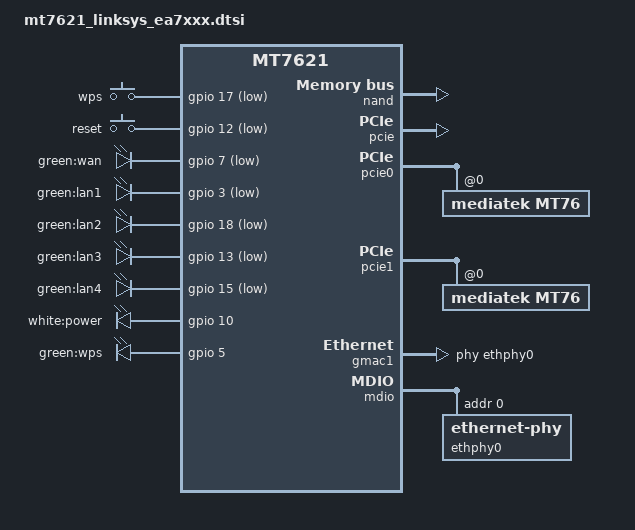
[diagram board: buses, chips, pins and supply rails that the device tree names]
// SPDX-License-Identifier: GPL-2.0-or-later OR MIT

#include "mt7621.dtsi"

#include <dt-bindings/gpio/gpio.h>
#include <dt-bindings/input/input.h>

/ {
	aliases {
		led-boot = &led_power;
		led-failsafe = &led_power;
		led-running = &led_power;
		led-upgrade = &led_power;
	};

	chosen {
		bootargs = "console=ttyS0,115200";
	};

	keys {
		compatible = "gpio-keys";

		wps {
			label = "wps";
			gpios = <&gpio 17 GPIO_ACTIVE_LOW>;
			linux,code = <KEY_WPS_BUTTON>;
		};

		reset {
			label = "reset";
			gpios = <&gpio 12 GPIO_ACTIVE_LOW>;
			linux,code = <KEY_RESTART>;
		};
	};

	leds {
		compatible = "gpio-leds";

		wan_green {
			label = "green:wan";
			gpios = <&gpio 7 GPIO_ACTIVE_LOW>;
		};

		lan1_green {
			label = "green:lan1";
			gpios = <&gpio 3 GPIO_ACTIVE_LOW>;
		};

		lan2_green {
			label = "green:lan2";
			gpios = <&gpio 18 GPIO_ACTIVE_LOW>;
		};

		lan3_green {
			label = "green:lan3";
			gpios = <&gpio 13 GPIO_ACTIVE_LOW>;
		};

		lan4_green {
			label = "green:lan4";
			gpios = <&gpio 15 GPIO_ACTIVE_LOW>;
		};

		led_power: power {
			label = "white:power";
			gpios = <&gpio 10 GPIO_ACTIVE_HIGH>;
		};

		wps {
			label = "green:wps";
			gpios = <&gpio 5 GPIO_ACTIVE_HIGH>;
		};
	};
};

&nand {
	status = "okay";

	partitions {
		compatible = "fixed-partitions";
		#address-cells = <1>;
		#size-cells = <1>;

		partition@0 {
			label = "boot";
			reg = <0x0 0x80000>;
			read-only;
		};

		partition@80000 {
			label = "u_env";
			reg = <0x80000 0x40000>;
			read-only;
		};

		factory: partition@c0000 {
			label = "factory";
			reg = <0xc0000 0x40000>;
			read-only;
		};

		partition@100000 {
			label = "s_env";
			reg = <0x100000 0x40000>;
		};

		partition@140000 {
			label = "devinfo";
			reg = <0x140000 0x40000>;
			read-only;
		};

		partition@180000 {
			label = "kernel";
			reg = <0x180000 0x400000>;
		};

		partition@580000 {
			label = "ubi";
			reg = <0x580000 0x2400000>;
		};

		partition@2980000 {
			label = "alt_kernel";
			reg = <0x2980000 0x400000>;
			read-only;
		};

		partition@2d80000 {
			label = "alt_rootfs";
			reg = <0x2d80000 0x2400000>;
			read-only;
		};

		partition@5180000 {
			label = "sysdiag";
			reg = <0x5180000 0x100000>;
			read-only;
		};

		partition@5280000 {
			label = "syscfg";
			reg = <0x5280000 0x2d00000>;
			read-only;
		};
	};
};

&state_default {
	gpio {
		groups = "i2c", "uart2", "uart3", "jtag", "wdt";
		function = "gpio";
	};
};

&pcie {
	status = "okay";
};

&pcie0 {
	mt76@0,0 {
		compatible = "mediatek,mt76";
		reg = <0x0000 0 0 0 0>;
		mediatek,mtd-eeprom = <&factory 0x0000>;
	};
};

&pcie1 {
	mt76@0,0 {
		compatible = "mediatek,mt76";
		reg = <0x0000 0 0 0 0>;
		mediatek,mtd-eeprom = <&factory 0x8000>;
	};
};

&gmac1 {
	status = "okay";
	label = "wan";
	phy-handle = <&ethphy0>;
};

&mdio {
	ethphy0: ethernet-phy@0 {
		reg = <0>;
	};
};

&switch0 {
	ports {
		port@1 {
			status = "okay";
			label = "lan1";
		};

		port@2 {
			status = "okay";
			label = "lan2";
		};

		port@3 {
			status = "okay";
			label = "lan3";
		};

		port@4 {
			status = "okay";
			label = "lan4";
		};
	};
};
